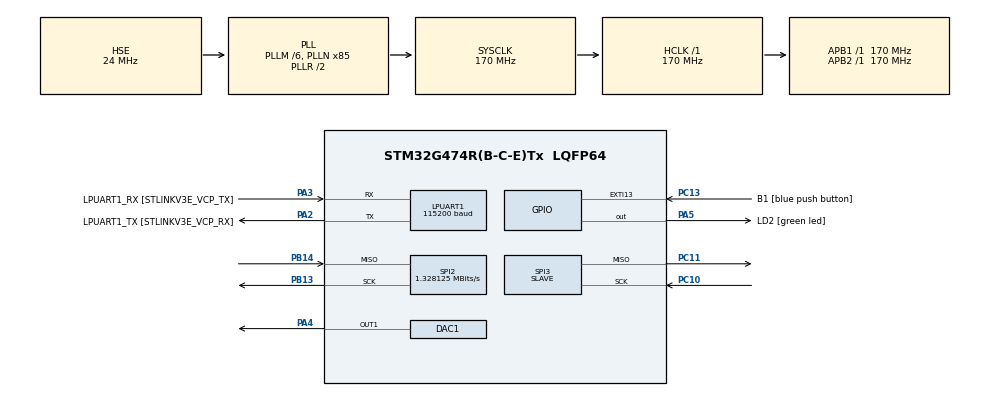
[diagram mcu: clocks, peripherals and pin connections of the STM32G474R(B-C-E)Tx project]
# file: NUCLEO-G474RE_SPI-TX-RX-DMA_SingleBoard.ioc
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DAC1.DAC_HighFrequency_OUT1-DAC_OUT1=DAC_HIGH_FREQUENCY_INTERFACE_MODE_ABOVE_160MHZ
Dma.Request0=SPI2_RX
Dma.Request1=SPI3_TX
Dma.SPI2_RX.0.Direction=DMA_PERIPH_TO_MEMORY
Dma.SPI2_RX.0.EventEnable=DISABLE
Dma.SPI2_RX.0.Instance=DMA1_Channel1
Dma.SPI2_RX.0.MemDataAlignment=DMA_MDATAALIGN_HALFWORD
Dma.SPI2_RX.0.MemInc=DMA_MINC_ENABLE
Dma.SPI2_RX.0.Mode=DMA_NORMAL
Dma.SPI2_RX.0.PeriphDataAlignment=DMA_PDATAALIGN_HALFWORD
Dma.SPI2_RX.0.PeriphInc=DMA_PINC_DISABLE
Dma.SPI2_RX.0.Polarity=HAL_DMAMUX_REQ_GEN_RISING
Dma.SPI2_RX.0.Priority=DMA_PRIORITY_LOW
Dma.SPI2_RX.0.RequestNumber=1
Dma.SPI2_RX.0.SignalID=NONE
Dma.SPI2_RX.0.SyncEnable=DISABLE
Dma.SPI2_RX.0.SyncPolarity=HAL_DMAMUX_SYNC_NO_EVENT
Dma.SPI2_RX.0.SyncRequestNumber=1
Dma.SPI2_RX.0.SyncSignalID=NONE
Dma.SPI3_TX.1.Direction=DMA_MEMORY_TO_PERIPH
Dma.SPI3_TX.1.EventEnable=DISABLE
Dma.SPI3_TX.1.Instance=DMA1_Channel2
Dma.SPI3_TX.1.MemDataAlignment=DMA_MDATAALIGN_BYTE
Dma.SPI3_TX.1.MemInc=DMA_MINC_ENABLE
Dma.SPI3_TX.1.Mode=DMA_NORMAL
Dma.SPI3_TX.1.PeriphDataAlignment=DMA_PDATAALIGN_BYTE
Dma.SPI3_TX.1.PeriphInc=DMA_PINC_DISABLE
Dma.SPI3_TX.1.Polarity=HAL_DMAMUX_REQ_GEN_RISING
Dma.SPI3_TX.1.Priority=DMA_PRIORITY_LOW
Dma.SPI3_TX.1.RequestNumber=1
Dma.SPI3_TX.1.SignalID=NONE
Dma.SPI3_TX.1.SyncEnable=DISABLE
Dma.SPI3_TX.1.SyncPolarity=HAL_DMAMUX_SYNC_NO_EVENT
Dma.SPI3_TX.1.SyncRequestNumber=1
Dma.SPI3_TX.1.SyncSignalID=NONE
LPUART1.BaudRate=115200
LPUART1.WordLength=UART_WORDLENGTH_8B
Mcu.Family=STM32G4
Mcu.Name=STM32G474R(B-C-E)Tx
Mcu.Package=LQFP64
NVIC.DMA1_Channel1_IRQn=true\:0\:0\:false\:false\:true\:false\:true
NVIC.DMA1_Channel2_IRQn=true\:0\:0\:false\:false\:true\:false\:true
NVIC.EXTI15_10_IRQn=true\:0\:0\:false\:false\:true\:true\:true
NVIC.PriorityGroup=NVIC_PRIORITYGROUP_4
PA13.GPIO_Label=T_SWDIO
PA13.Mode=Trace_Asynchronous_SW
PA13.Signal=SYS_JTMS-SWDIO
PA14.GPIO_Label=T_SWCLK
PA14.Mode=Trace_Asynchronous_SW
PA14.Signal=SYS_JTCK-SWCLK
PA2.GPIO_Label=LPUART1_TX [STLINKV3E_VCP_RX]
PA2.Mode=Asynchronous
PA2.Signal=LPUART1_TX
PA3.GPIO_Label=LPUART1_RX [STLINKV3E_VCP_TX]
PA3.Mode=Asynchronous
PA3.Signal=LPUART1_RX
PA4.Signal=COMP_DAC11_group
PA5.GPIO_Label=LD2 [green led]
PA5.Signal=GPIO_Output
PB13.Mode=RX_Only_Simplex_Unidirect_Master
PB13.Signal=SPI2_SCK
PB14.Mode=RX_Only_Simplex_Unidirect_Master
PB14.Signal=SPI2_MISO
PB3.GPIO_Label=T_SWO
PB3.Mode=Trace_Asynchronous_SW
PB3.Signal=SYS_JTDO-SWO
PC10.Mode=TX_Only_Simplex_Unidirect_Slave
PC10.Signal=SPI3_SCK
PC11.Mode=TX_Only_Simplex_Unidirect_Slave
PC11.Signal=SPI3_MISO
PC13.GPIO_Label=B1 [blue push button]
PC13.Signal=GPXTI13
PC14-OSC32_IN.Mode=LSE-External-Oscillator
PC14-OSC32_IN.Signal=RCC_OSC32_IN
PC15-OSC32_OUT.Mode=LSE-External-Oscillator
PC15-OSC32_OUT.Signal=RCC_OSC32_OUT
PF0-OSC_IN.Mode=HSE-External-Oscillator
PF0-OSC_IN.Signal=RCC_OSC_IN
PF1-OSC_OUT.Mode=HSE-External-Oscillator
PF1-OSC_OUT.Signal=RCC_OSC_OUT
ProjectManager.HeapSize=0x200
ProjectManager.StackSize=0x400
ProjectManager.TargetToolchain=STM32CubeIDE
RCC.ADC12Freq_Value=170000000
RCC.ADC345Freq_Value=170000000
RCC.AHBFreq_Value=170000000
RCC.APB1Freq_Value=170000000
RCC.APB1TimFreq_Value=170000000
RCC.APB2Freq_Value=170000000
RCC.APB2TimFreq_Value=170000000
RCC.CortexFreq_Value=170000000
RCC.EXTERNAL_CLOCK_VALUE=12288000
RCC.HCLKFreq_Value=170000000
RCC.HSE_VALUE=24000000
RCC.HSI48_VALUE=48000000
RCC.HSI_VALUE=16000000
RCC.PLLM=RCC_PLLM_DIV6
RCC.PLLN=85
RCC.PLLSourceVirtual=RCC_PLLSOURCE_HSE
RCC.RTCClockSelection=RCC_RTCCLKSOURCE_LSE
RCC.SYSCLKFreq_VALUE=170000000
RCC.SYSCLKSource=RCC_SYSCLKSOURCE_PLLCLK
RCC.USBFreq_Value=170000000
RCC.VCOOutputFreq_Value=340000000
SH.COMP_DAC11_group.0=DAC1_OUT1,DAC_OUT1
SPI2.BaudRatePrescaler=SPI_BAUDRATEPRESCALER_128
SPI2.CalculateBaudRate=1.328125 MBits/s
SPI2.DataSize=SPI_DATASIZE_8BIT
SPI2.Direction=SPI_DIRECTION_2LINES_RXONLY
SPI2.Mode=SPI_MODE_MASTER
SPI2.NSSPMode=SPI_NSS_PULSE_DISABLE
SPI2.VirtualType=VM_MASTER
SPI3.DataSize=SPI_DATASIZE_8BIT
SPI3.Direction=SPI_DIRECTION_2LINES
SPI3.Mode=SPI_MODE_SLAVE
SPI3.VirtualType=VM_SLAVE
VP_CRC_VS_CRC.Mode=CRC_Activate
VP_SYS_VS_DBSignals.Mode=DisableDeadBatterySignals
board=NUCLEO-G474RE

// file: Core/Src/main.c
/* USER CODE BEGIN Header */
/**
  ******************************************************************************
  * @file           : main.c
  * @brief          : Main program body
  ******************************************************************************
  * @attention
  *
  * <h2><center>&copy; Copyright (c) 2021 STMicroelectronics.
  * All rights reserved.</center></h2>
  *
  * This software component is licensed by ST under BSD 3-Clause license,
  * the "License"; You may not use this file except in compliance with the
  * License. You may obtain a copy of the License at:
  *                        opensource.org/licenses/BSD-3-Clause
  *
  ******************************************************************************
  */
/* USER CODE END Header */
#include "main.h"

/* USER CODE BEGIN Includes */

#include <stdio.h>

/* USER CODE END Includes */

CRC_HandleTypeDef hcrc;

DAC_HandleTypeDef hdac1;

UART_HandleTypeDef hlpuart1;

SPI_HandleTypeDef hspi2;
SPI_HandleTypeDef hspi3;
DMA_HandleTypeDef hdma_spi2_rx;
DMA_HandleTypeDef hdma_spi3_tx;

/* USER CODE BEGIN PV */

uint8_t send_data[100] = "SPI buffer test";
uint8_t size_data;
uint8_t receive_data[100];

/* USER CODE END PV */

void SystemClock_Config(void);
static void MX_GPIO_Init(void);
static void MX_LPUART1_UART_Init(void);
static void MX_DMA_Init(void);
static void MX_SPI2_Init(void);
static void MX_CRC_Init(void);
static void MX_DAC1_Init(void);
static void MX_SPI3_Init(void);
/* USER CODE BEGIN PFP */

#define PUTCHAR_PROTOTYPE int __io_putchar(int ch)

/* USER CODE END PFP */

int main(void)
{

  /* MCU Configuration--------------------------------------------------------*/

  /* Reset of all peripherals, Initializes the Flash interface and the Systick. */
  HAL_Init();

  /* Configure the system clock */
  SystemClock_Config();

  /* Initialize all configured peripherals */
  MX_GPIO_Init();
  MX_LPUART1_UART_Init();
  MX_DMA_Init();
  MX_SPI2_Init();
  MX_CRC_Init();
  MX_DAC1_Init();
  MX_SPI3_Init();
  /* USER CODE BEGIN 2 */

  printf("Starting >> NUCLEO-G474RE_SPI-TX-DMA_RX-DMA \n");

  for(u_int16_t cntr = 0; cntr < 100; cntr++)
	  send_data[cntr] = cntr;

  HAL_SPI_Transmit_DMA(&hspi3, send_data, 100);

  HAL_SPI_Receive_DMA(&hspi2, receive_data, 100);

  HAL_Delay(200);

  printf("Ending >> NUCLEO-G474RE_SPI-TX-DMA_RX-DMA \n");
  /* USER CODE END 2 */

  /* Infinite loop */
  while (1)
  {

  }
}

void SystemClock_Config(void)
{
  RCC_OscInitTypeDef RCC_OscInitStruct = {0};
  RCC_ClkInitTypeDef RCC_ClkInitStruct = {0};
  RCC_PeriphCLKInitTypeDef PeriphClkInit = {0};

  /** Configure the main internal regulator output voltage
  */
  HAL_PWREx_ControlVoltageScaling(PWR_REGULATOR_VOLTAGE_SCALE1_BOOST);
  /** Initializes the RCC Oscillators according to the specified parameters
  * in the RCC_OscInitTypeDef structure.
  */
  RCC_OscInitStruct.OscillatorType = RCC_OSCILLATORTYPE_HSE;
  RCC_OscInitStruct.HSEState = RCC_HSE_ON;
  RCC_OscInitStruct.PLL.PLLState = RCC_PLL_ON;
  RCC_OscInitStruct.PLL.PLLSource = RCC_PLLSOURCE_HSE;
  RCC_OscInitStruct.PLL.PLLM = RCC_PLLM_DIV6;
  RCC_OscInitStruct.PLL.PLLN = 85;
  RCC_OscInitStruct.PLL.PLLP = RCC_PLLP_DIV2;
  RCC_OscInitStruct.PLL.PLLQ = RCC_PLLQ_DIV2;
  RCC_OscInitStruct.PLL.PLLR = RCC_PLLR_DIV2;
  if (HAL_RCC_OscConfig(&RCC_OscInitStruct) != HAL_OK)
  {
    Error_Handler();
  }
  /** Initializes the CPU, AHB and APB buses clocks
  */
  RCC_ClkInitStruct.ClockType = RCC_CLOCKTYPE_HCLK|RCC_CLOCKTYPE_SYSCLK
                              |RCC_CLOCKTYPE_PCLK1|RCC_CLOCKTYPE_PCLK2;
  RCC_ClkInitStruct.SYSCLKSource = RCC_SYSCLKSOURCE_PLLCLK;
  RCC_ClkInitStruct.AHBCLKDivider = RCC_SYSCLK_DIV1;
  RCC_ClkInitStruct.APB1CLKDivider = RCC_HCLK_DIV1;
  RCC_ClkInitStruct.APB2CLKDivider = RCC_HCLK_DIV1;

  if (HAL_RCC_ClockConfig(&RCC_ClkInitStruct, FLASH_LATENCY_4) != HAL_OK)
  {
    Error_Handler();
  }
  /** Initializes the peripherals clocks
  */
  PeriphClkInit.PeriphClockSelection = RCC_PERIPHCLK_LPUART1;
  PeriphClkInit.Lpuart1ClockSelection = RCC_LPUART1CLKSOURCE_PCLK1;
  if (HAL_RCCEx_PeriphCLKConfig(&PeriphClkInit) != HAL_OK)
  {
    Error_Handler();
  }
}

static void MX_CRC_Init(void)
{

  hcrc.Instance = CRC;
  hcrc.Init.DefaultPolynomialUse = DEFAULT_POLYNOMIAL_ENABLE;
  hcrc.Init.DefaultInitValueUse = DEFAULT_INIT_VALUE_ENABLE;
  hcrc.Init.InputDataInversionMode = CRC_INPUTDATA_INVERSION_NONE;
  hcrc.Init.OutputDataInversionMode = CRC_OUTPUTDATA_INVERSION_DISABLE;
  hcrc.InputDataFormat = CRC_INPUTDATA_FORMAT_BYTES;
  if (HAL_CRC_Init(&hcrc) != HAL_OK)
  {
    Error_Handler();
  }

}

static void MX_DAC1_Init(void)
{

  DAC_ChannelConfTypeDef sConfig = {0};

  /** DAC Initialization
  */
  hdac1.Instance = DAC1;
  if (HAL_DAC_Init(&hdac1) != HAL_OK)
  {
    Error_Handler();
  }
  /** DAC channel OUT1 config
  */
  sConfig.DAC_HighFrequency = DAC_HIGH_FREQUENCY_INTERFACE_MODE_ABOVE_160MHZ;
  sConfig.DAC_DMADoubleDataMode = DISABLE;
  sConfig.DAC_SignedFormat = DISABLE;
  sConfig.DAC_SampleAndHold = DAC_SAMPLEANDHOLD_DISABLE;
  sConfig.DAC_Trigger = DAC_TRIGGER_NONE;
  sConfig.DAC_Trigger2 = DAC_TRIGGER_NONE;
  sConfig.DAC_OutputBuffer = DAC_OUTPUTBUFFER_ENABLE;
  sConfig.DAC_ConnectOnChipPeripheral = DAC_CHIPCONNECT_EXTERNAL;
  sConfig.DAC_UserTrimming = DAC_TRIMMING_FACTORY;
  if (HAL_DAC_ConfigChannel(&hdac1, &sConfig, DAC_CHANNEL_1) != HAL_OK)
  {
    Error_Handler();
  }

}

static void MX_LPUART1_UART_Init(void)
{

  hlpuart1.Instance = LPUART1;
  hlpuart1.Init.BaudRate = 115200;
  hlpuart1.Init.WordLength = UART_WORDLENGTH_8B;
  hlpuart1.Init.StopBits = UART_STOPBITS_1;
  hlpuart1.Init.Parity = UART_PARITY_NONE;
  hlpuart1.Init.Mode = UART_MODE_TX_RX;
  hlpuart1.Init.HwFlowCtl = UART_HWCONTROL_NONE;
  hlpuart1.Init.OneBitSampling = UART_ONE_BIT_SAMPLE_DISABLE;
  hlpuart1.Init.ClockPrescaler = UART_PRESCALER_DIV1;
  hlpuart1.AdvancedInit.AdvFeatureInit = UART_ADVFEATURE_NO_INIT;
  if (HAL_UART_Init(&hlpuart1) != HAL_OK)
  {
    Error_Handler();
  }
  if (HAL_UARTEx_SetTxFifoThreshold(&hlpuart1, UART_TXFIFO_THRESHOLD_1_8) != HAL_OK)
  {
    Error_Handler();
  }
  if (HAL_UARTEx_SetRxFifoThreshold(&hlpuart1, UART_RXFIFO_THRESHOLD_1_8) != HAL_OK)
  {
    Error_Handler();
  }
  if (HAL_UARTEx_DisableFifoMode(&hlpuart1) != HAL_OK)
  {
    Error_Handler();
  }

}

static void MX_SPI2_Init(void)
{

  /* SPI2 parameter configuration*/
  hspi2.Instance = SPI2;
  hspi2.Init.Mode = SPI_MODE_MASTER;
  hspi2.Init.Direction = SPI_DIRECTION_2LINES_RXONLY;
  hspi2.Init.DataSize = SPI_DATASIZE_8BIT;
  hspi2.Init.CLKPolarity = SPI_POLARITY_LOW;
  hspi2.Init.CLKPhase = SPI_PHASE_1EDGE;
  hspi2.Init.NSS = SPI_NSS_SOFT;
  hspi2.Init.BaudRatePrescaler = SPI_BAUDRATEPRESCALER_128;
  hspi2.Init.FirstBit = SPI_FIRSTBIT_MSB;
  hspi2.Init.TIMode = SPI_TIMODE_DISABLE;
  hspi2.Init.CRCCalculation = SPI_CRCCALCULATION_DISABLE;
  hspi2.Init.CRCPolynomial = 7;
  hspi2.Init.CRCLength = SPI_CRC_LENGTH_DATASIZE;
  hspi2.Init.NSSPMode = SPI_NSS_PULSE_DISABLE;
  if (HAL_SPI_Init(&hspi2) != HAL_OK)
  {
    Error_Handler();
  }

}

static void MX_SPI3_Init(void)
{

  /* SPI3 parameter configuration*/
  hspi3.Instance = SPI3;
  hspi3.Init.Mode = SPI_MODE_SLAVE;
  hspi3.Init.Direction = SPI_DIRECTION_2LINES;
  hspi3.Init.DataSize = SPI_DATASIZE_8BIT;
  hspi3.Init.CLKPolarity = SPI_POLARITY_LOW;
  hspi3.Init.CLKPhase = SPI_PHASE_1EDGE;
  hspi3.Init.NSS = SPI_NSS_SOFT;
  hspi3.Init.FirstBit = SPI_FIRSTBIT_MSB;
  hspi3.Init.TIMode = SPI_TIMODE_DISABLE;
  hspi3.Init.CRCCalculation = SPI_CRCCALCULATION_DISABLE;
  hspi3.Init.CRCPolynomial = 7;
  hspi3.Init.CRCLength = SPI_CRC_LENGTH_DATASIZE;
  hspi3.Init.NSSPMode = SPI_NSS_PULSE_DISABLE;
  if (HAL_SPI_Init(&hspi3) != HAL_OK)
  {
    Error_Handler();
  }

}

static void MX_DMA_Init(void)
{

  /* DMA controller clock enable */
  __HAL_RCC_DMAMUX1_CLK_ENABLE();
  __HAL_RCC_DMA1_CLK_ENABLE();

  /* DMA interrupt init */
  /* DMA1_Channel1_IRQn interrupt configuration */
  HAL_NVIC_SetPriority(DMA1_Channel1_IRQn, 0, 0);
  HAL_NVIC_EnableIRQ(DMA1_Channel1_IRQn);
  /* DMA1_Channel2_IRQn interrupt configuration */
  HAL_NVIC_SetPriority(DMA1_Channel2_IRQn, 0, 0);
  HAL_NVIC_EnableIRQ(DMA1_Channel2_IRQn);

}

static void MX_GPIO_Init(void)
{
  GPIO_InitTypeDef GPIO_InitStruct = {0};

  /* GPIO Ports Clock Enable */
  __HAL_RCC_GPIOC_CLK_ENABLE();
  __HAL_RCC_GPIOF_CLK_ENABLE();
  __HAL_RCC_GPIOA_CLK_ENABLE();
  __HAL_RCC_GPIOB_CLK_ENABLE();

  /*Configure GPIO pin Output Level */
  HAL_GPIO_WritePin(LD2_GPIO_Port, LD2_Pin, GPIO_PIN_RESET);

  /*Configure GPIO pin : B1_Pin */
  GPIO_InitStruct.Pin = B1_Pin;
  GPIO_InitStruct.Mode = GPIO_MODE_IT_RISING;
  GPIO_InitStruct.Pull = GPIO_NOPULL;
  HAL_GPIO_Init(B1_GPIO_Port, &GPIO_InitStruct);

  /*Configure GPIO pin : LD2_Pin */
  GPIO_InitStruct.Pin = LD2_Pin;
  GPIO_InitStruct.Mode = GPIO_MODE_OUTPUT_PP;
  GPIO_InitStruct.Pull = GPIO_NOPULL;
  GPIO_InitStruct.Speed = GPIO_SPEED_FREQ_LOW;
  HAL_GPIO_Init(LD2_GPIO_Port, &GPIO_InitStruct);

  /* EXTI interrupt init*/
  HAL_NVIC_SetPriority(EXTI15_10_IRQn, 0, 0);
  HAL_NVIC_EnableIRQ(EXTI15_10_IRQn);

}

/* USER CODE BEGIN 4 */

PUTCHAR_PROTOTYPE
{
  /* Place your implementation of fputc here */
  /* e.g. write a character to the LPUART1 and Loop until the end of transmission */
  HAL_UART_Transmit(&hlpuart1, (uint8_t *)&ch, 1, 0xFFFF);

  return ch;
}

void HAL_SPI_RxCpltCallback(SPI_HandleTypeDef *hspi)
{
	UNUSED(hspi);
	printf("HAL_SPI_RxCpltCallback \n");
}

void HAL_SPI_ErrorCallback(SPI_HandleTypeDef *hspi)
{
	UNUSED(hspi);
	printf("HAL_SPI_ErrorCallback = %x \n", hspi->ErrorCode);
}

void HAL_SPI_TxCpltCallback(SPI_HandleTypeDef *hspi)
{
	UNUSED(hspi);
	printf("HAL_SPI_TxCpltCallback \n");
}

/* USER CODE END 4 */

void Error_Handler(void)
{
  __disable_irq();
  while (1)
  {
  }
}

/************************ (C) COPYRIGHT STMicroelectronics *****END OF FILE****/
